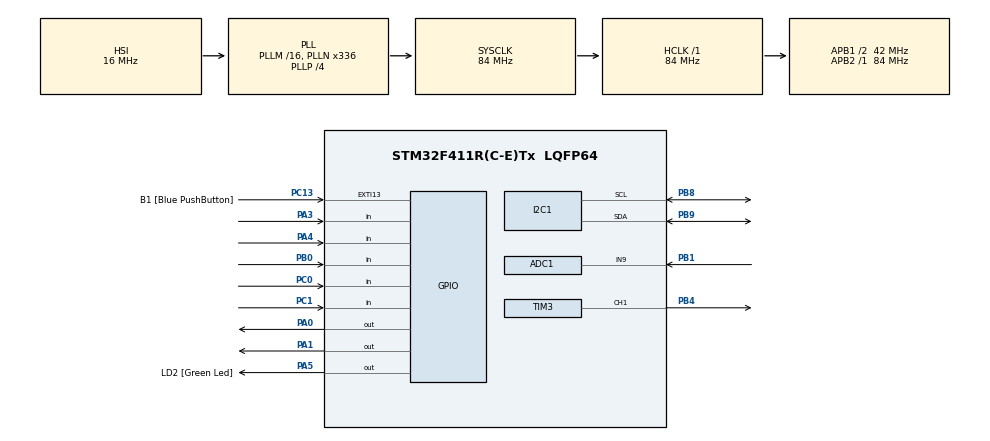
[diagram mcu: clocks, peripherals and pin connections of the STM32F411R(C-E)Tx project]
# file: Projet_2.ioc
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ADC1.Channel-0\#ChannelRegularConversion=ADC_CHANNEL_9
ADC1.ContinuousConvMode=ENABLE
ADC1.InjNumberOfConversion=0
ADC1.NbrOfConversion=1
ADC1.NbrOfConversionFlag=1
ADC1.Rank-0\#ChannelRegularConversion=1
ADC1.SamplingTime-0\#ChannelRegularConversion=ADC_SAMPLETIME_3CYCLES
ADC1.master=1
FREERTOS.Tasks01=defaultTask,0,128,StartDefaultTask,Default,NULL,Dynamic,NULL,NULL;pushButton,0,512,StartTask02,Default,NULL,Dynamic,NULL,NULL;servoTask,0,128,StartTask03,Default,NULL,Dynamic,NULL,NULL;tacheEcran,0,512,tacheEcranLCD,Default,NULL,Dynamic,NULL,NULL
Mcu.Family=STM32F4
Mcu.Name=STM32F411R(C-E)Tx
Mcu.Package=LQFP64
NVIC.PriorityGroup=NVIC_PRIORITYGROUP_4
PA0-WKUP.Signal=GPIO_Output
PA1.Signal=GPIO_Output
PA13.GPIO_Label=TMS
PA13.Mode=Serial_Wire
PA13.Signal=SYS_JTMS-SWDIO
PA14.GPIO_Label=TCK
PA14.Mode=Serial_Wire
PA14.Signal=SYS_JTCK-SWCLK
PA2.GPIO_Label=USART_TX
PA2.Signal=USART2_TX
PA3.Signal=GPIO_Input
PA4.Signal=GPIO_Input
PA5.GPIO_Label=LD2 [Green Led]
PA5.Signal=GPIO_Output
PB0.Signal=GPIO_Input
PB1.Signal=ADCx_IN9
PB3.GPIO_Label=SWO
PB3.Signal=SYS_JTDO-SWO
PB4.Signal=S_TIM3_CH1
PB8.Mode=I2C
PB8.Signal=I2C1_SCL
PB9.Mode=I2C
PB9.Signal=I2C1_SDA
PC0.Signal=GPIO_Input
PC1.Signal=GPIO_Input
PC13-ANTI_TAMP.GPIO_Label=B1 [Blue PushButton]
PC13-ANTI_TAMP.GPIO_ModeDefaultEXTI=GPIO_MODE_IT_FALLING
PC13-ANTI_TAMP.Signal=GPXTI13
PC14-OSC32_IN.Mode=LSE-External-Oscillator
PC14-OSC32_IN.Signal=RCC_OSC32_IN
PC15-OSC32_OUT.Mode=LSE-External-Oscillator
PC15-OSC32_OUT.Signal=RCC_OSC32_OUT
PH0\ -\ OSC_IN.Mode=HSE-External-Clock-Source
PH0\ -\ OSC_IN.Signal=RCC_OSC_IN
PH1\ -\ OSC_OUT.Mode=HSE-External-Clock-Source
PH1\ -\ OSC_OUT.Signal=RCC_OSC_OUT
ProjectManager.HeapSize=0x200
ProjectManager.StackSize=0x400
ProjectManager.TargetToolchain=STM32CubeIDE
RCC.48MHZClocksFreq_Value=84000000
RCC.AHBFreq_Value=84000000
RCC.APB1CLKDivider=RCC_HCLK_DIV2
RCC.APB1Freq_Value=42000000
RCC.APB1TimFreq_Value=84000000
RCC.APB2Freq_Value=84000000
RCC.APB2TimFreq_Value=84000000
RCC.CortexFreq_Value=84000000
RCC.FLatency-AdvancedSettings=FLASH_LATENCY_2
RCC.HCLKFreq_Value=84000000
RCC.HSE_VALUE=8000000
RCC.HSI_VALUE=16000000
RCC.PLLN=336
RCC.PLLP=RCC_PLLP_DIV4
RCC.SYSCLKFreq_VALUE=84000000
RCC.SYSCLKSource=RCC_SYSCLKSOURCE_PLLCLK
RCC.VCOOutputFreq_Value=336000000
SH.ADCx_IN9.0=ADC1_IN9,IN9
SH.S_TIM3_CH1.0=TIM3_CH1,PWM Generation1 CH1
TIM3.Channel-PWM\ Generation1\ CH1=TIM_CHANNEL_1
TIM3.Period=100-1
TIM3.Prescaler=20000-1
VP_FREERTOS_VS_CMSIS_V1.Mode=CMSIS_V1
board=NUCLEO-F411RE

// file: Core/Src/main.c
/* USER CODE BEGIN Header */
/**
  ******************************************************************************
  * @file           : main.c
  * @brief          : Main program body
  ******************************************************************************
  * @attention
  *
  * <h2><center>&copy; Copyright (c) 2021 STMicroelectronics.
  * All rights reserved.</center></h2>
  *
  * This software component is licensed by ST under BSD 3-Clause license,
  * the "License"; You may not use this file except in compliance with the
  * License. You may obtain a copy of the License at:
  *                        opensource.org/licenses/BSD-3-Clause
  *
  ******************************************************************************
  */
/* USER CODE END Header */
#include "main.h"
#include "cmsis_os.h"

/* USER CODE BEGIN Includes */
#include "i2c_lcd.h"
#include "moteurImpression.h"
#include "dwt_stm32_delay.h"

#include <stdio.h>
#include <stdlib.h>
#include <string.h>
#include <math.h>
/* USER CODE END Includes */

ADC_HandleTypeDef hadc1;

I2C_HandleTypeDef hi2c1;

TIM_HandleTypeDef htim3;

osThreadId defaultTaskHandle;
osThreadId pushButtonHandle;
osThreadId servoTaskHandle;
osThreadId tacheEcranHandle;
/* USER CODE BEGIN PV */
osSemaphoreId Sem_Bin_1Handle;

/*---- Valeur sortie ADC----*/
unsigned int uiAnalogData = 0;
int percent;

/*----ADRESSE ECRAN LCD----*/
uint8_t LCD_ADD = 0x00<<1;

/*----BOUTON DECREMENTE VALEUR----*/
int onePushDec = 0;

/*----BOUTON INCREMENTE VALEUR----*/
int onePushInc =0;

/*----VARIABLE COMMUNE BOUTON----*/
int pushMouvement = 0;

/*----TEST CONNEXION ECRAN LCD----*/
int nblcd = 0;

/*----CHOIX INTERFACE----*/
int pushInterface = 0;
int onePushInterface = 0;

/*----MOT ET LONGUEUR MOT A ENVOYER POUR AFFICHAGE----*/
char mot[4];
int lengthTab;

/*----VALIDATION----*/
int onePushDroit = 1;
int onePushGauche = 1;
int buttonPosition = 0;
int onePushValide = 0;
int buttonValide = 0;
/*----CLEAR PASSAGE INTERFACE----*/
int refresh = 0;

/*----NOM DU DESSIN----*/
int nomDessinNb = 0;

/*----FLAG IMPRESSION----*/
int flagImp = 0;
int taille = 0;
/*----A ENLVER A LA FIN ---*/
int reste;
int placeVide;
int posMin = 0, posMax = 0, i = 0;;
int tailleTableau = 0;

/*----Stockage nom du dessin----*/
char nomRecu;

int total = 0;
int colonne = 0;
int ligne = 0;
/* USER CODE END PV */

void SystemClock_Config(void);
static void MX_GPIO_Init(void);
static void MX_TIM3_Init(void);
static void MX_ADC1_Init(void);
static void MX_I2C1_Init(void);
void StartDefaultTask(void const * argument);
void StartTask02(void const * argument);
void StartTask03(void const * argument);
void tacheEcranLCD(void const * argument);

int main(void)
{

  /* MCU Configuration--------------------------------------------------------*/

  /* Reset of all peripherals, Initializes the Flash interface and the Systick. */
  HAL_Init();

  /* Configure the system clock */
  SystemClock_Config();

  /* Initialize all configured peripherals */
  MX_GPIO_Init();
  MX_TIM3_Init();
  MX_ADC1_Init();
  MX_I2C1_Init();

  /* USER CODE BEGIN RTOS_SEMAPHORES */
  osSemaphoreDef(Sem_Bin_1);
  Sem_Bin_1Handle = osSemaphoreCreate(osSemaphore(Sem_Bin_1), 1);

  //osSemaphoreDef(Sem_Impression_1);
  //Sem_Impression = osSemaphoreCreate(osSemaphore(Sem_Impression_1), 1);
  /* USER CODE END RTOS_SEMAPHORES */

  /* Create the thread(s) */
  /* definition and creation of defaultTask */
  osThreadDef(defaultTask, StartDefaultTask, osPriorityNormal, 0, 128);
  defaultTaskHandle = osThreadCreate(osThread(defaultTask), NULL);

  /* definition and creation of pushButton */
  osThreadDef(pushButton, StartTask02, osPriorityNormal, 0, 512);
  pushButtonHandle = osThreadCreate(osThread(pushButton), NULL);

  /* definition and creation of servoTask */
  osThreadDef(servoTask, StartTask03, osPriorityNormal, 0, 128);
  servoTaskHandle = osThreadCreate(osThread(servoTask), NULL);

  /* definition and creation of tacheEcran */
  osThreadDef(tacheEcran, tacheEcranLCD, osPriorityNormal, 0, 512);
  tacheEcranHandle = osThreadCreate(osThread(tacheEcran), NULL);

  /* Start scheduler */
  osKernelStart();

  /* We should never get here as control is now taken by the scheduler */
  /* Infinite loop */
  while (1)
  {

  }
}

void SystemClock_Config(void)
{
  RCC_OscInitTypeDef RCC_OscInitStruct = {0};
  RCC_ClkInitTypeDef RCC_ClkInitStruct = {0};

  /** Configure the main internal regulator output voltage
  */
  __HAL_RCC_PWR_CLK_ENABLE();
  __HAL_PWR_VOLTAGESCALING_CONFIG(PWR_REGULATOR_VOLTAGE_SCALE1);
  /** Initializes the RCC Oscillators according to the specified parameters
  * in the RCC_OscInitTypeDef structure.
  */
  RCC_OscInitStruct.OscillatorType = RCC_OSCILLATORTYPE_HSI;
  RCC_OscInitStruct.HSIState = RCC_HSI_ON;
  RCC_OscInitStruct.HSICalibrationValue = RCC_HSICALIBRATION_DEFAULT;
  RCC_OscInitStruct.PLL.PLLState = RCC_PLL_ON;
  RCC_OscInitStruct.PLL.PLLSource = RCC_PLLSOURCE_HSI;
  RCC_OscInitStruct.PLL.PLLM = 16;
  RCC_OscInitStruct.PLL.PLLN = 336;
  RCC_OscInitStruct.PLL.PLLP = RCC_PLLP_DIV4;
  RCC_OscInitStruct.PLL.PLLQ = 4;
  if (HAL_RCC_OscConfig(&RCC_OscInitStruct) != HAL_OK)
  {
    Error_Handler();
  }
  /** Initializes the CPU, AHB and APB buses clocks
  */
  RCC_ClkInitStruct.ClockType = RCC_CLOCKTYPE_HCLK|RCC_CLOCKTYPE_SYSCLK
                              |RCC_CLOCKTYPE_PCLK1|RCC_CLOCKTYPE_PCLK2;
  RCC_ClkInitStruct.SYSCLKSource = RCC_SYSCLKSOURCE_PLLCLK;
  RCC_ClkInitStruct.AHBCLKDivider = RCC_SYSCLK_DIV1;
  RCC_ClkInitStruct.APB1CLKDivider = RCC_HCLK_DIV2;
  RCC_ClkInitStruct.APB2CLKDivider = RCC_HCLK_DIV1;

  if (HAL_RCC_ClockConfig(&RCC_ClkInitStruct, FLASH_LATENCY_2) != HAL_OK)
  {
    Error_Handler();
  }
}

static void MX_ADC1_Init(void)
{

  ADC_ChannelConfTypeDef sConfig = {0};

  /** Configure the global features of the ADC (Clock, Resolution, Data Alignment and number of conversion)
  */
  hadc1.Instance = ADC1;
  hadc1.Init.ClockPrescaler = ADC_CLOCK_SYNC_PCLK_DIV4;
  hadc1.Init.Resolution = ADC_RESOLUTION_12B;
  hadc1.Init.ScanConvMode = DISABLE;
  hadc1.Init.ContinuousConvMode = ENABLE;
  hadc1.Init.DiscontinuousConvMode = DISABLE;
  hadc1.Init.ExternalTrigConvEdge = ADC_EXTERNALTRIGCONVEDGE_NONE;
  hadc1.Init.ExternalTrigConv = ADC_SOFTWARE_START;
  hadc1.Init.DataAlign = ADC_DATAALIGN_RIGHT;
  hadc1.Init.NbrOfConversion = 1;
  hadc1.Init.DMAContinuousRequests = DISABLE;
  hadc1.Init.EOCSelection = ADC_EOC_SINGLE_CONV;
  if (HAL_ADC_Init(&hadc1) != HAL_OK)
  {
    Error_Handler();
  }
  /** Configure for the selected ADC regular channel its corresponding rank in the sequencer and its sample time.
  */
  sConfig.Channel = ADC_CHANNEL_9;
  sConfig.Rank = 1;
  sConfig.SamplingTime = ADC_SAMPLETIME_3CYCLES;
  if (HAL_ADC_ConfigChannel(&hadc1, &sConfig) != HAL_OK)
  {
    Error_Handler();
  }

}

static void MX_I2C1_Init(void)
{

  hi2c1.Instance = I2C1;
  hi2c1.Init.ClockSpeed = 100000;
  hi2c1.Init.DutyCycle = I2C_DUTYCYCLE_2;
  hi2c1.Init.OwnAddress1 = 0;
  hi2c1.Init.AddressingMode = I2C_ADDRESSINGMODE_7BIT;
  hi2c1.Init.DualAddressMode = I2C_DUALADDRESS_DISABLE;
  hi2c1.Init.OwnAddress2 = 0;
  hi2c1.Init.GeneralCallMode = I2C_GENERALCALL_DISABLE;
  hi2c1.Init.NoStretchMode = I2C_NOSTRETCH_DISABLE;
  if (HAL_I2C_Init(&hi2c1) != HAL_OK)
  {
    Error_Handler();
  }

}

static void MX_TIM3_Init(void)
{

  TIM_MasterConfigTypeDef sMasterConfig = {0};
  TIM_OC_InitTypeDef sConfigOC = {0};

  htim3.Instance = TIM3;
  htim3.Init.Prescaler = 20000-1;
  htim3.Init.CounterMode = TIM_COUNTERMODE_UP;
  htim3.Init.Period = 100-1;
  htim3.Init.ClockDivision = TIM_CLOCKDIVISION_DIV1;
  htim3.Init.AutoReloadPreload = TIM_AUTORELOAD_PRELOAD_DISABLE;
  if (HAL_TIM_PWM_Init(&htim3) != HAL_OK)
  {
    Error_Handler();
  }
  sMasterConfig.MasterOutputTrigger = TIM_TRGO_RESET;
  sMasterConfig.MasterSlaveMode = TIM_MASTERSLAVEMODE_DISABLE;
  if (HAL_TIMEx_MasterConfigSynchronization(&htim3, &sMasterConfig) != HAL_OK)
  {
    Error_Handler();
  }
  sConfigOC.OCMode = TIM_OCMODE_PWM1;
  sConfigOC.Pulse = 0;
  sConfigOC.OCPolarity = TIM_OCPOLARITY_HIGH;
  sConfigOC.OCFastMode = TIM_OCFAST_DISABLE;
  if (HAL_TIM_PWM_ConfigChannel(&htim3, &sConfigOC, TIM_CHANNEL_1) != HAL_OK)
  {
    Error_Handler();
  }
  HAL_TIM_MspPostInit(&htim3);

}

static void MX_GPIO_Init(void)
{
  GPIO_InitTypeDef GPIO_InitStruct = {0};

  /* GPIO Ports Clock Enable */
  __HAL_RCC_GPIOC_CLK_ENABLE();
  __HAL_RCC_GPIOH_CLK_ENABLE();
  __HAL_RCC_GPIOA_CLK_ENABLE();
  __HAL_RCC_GPIOB_CLK_ENABLE();

  /*Configure GPIO pin Output Level */
  HAL_GPIO_WritePin(GPIOA, GPIO_PIN_0|GPIO_PIN_1|LD2_Pin, GPIO_PIN_RESET);

  /*Configure GPIO pin : B1_Pin */
  GPIO_InitStruct.Pin = B1_Pin;
  GPIO_InitStruct.Mode = GPIO_MODE_IT_FALLING;
  GPIO_InitStruct.Pull = GPIO_NOPULL;
  HAL_GPIO_Init(B1_GPIO_Port, &GPIO_InitStruct);

  /*Configure GPIO pins : PC0 PC1 */
  GPIO_InitStruct.Pin = GPIO_PIN_0|GPIO_PIN_1;
  GPIO_InitStruct.Mode = GPIO_MODE_INPUT;
  GPIO_InitStruct.Pull = GPIO_NOPULL;
  HAL_GPIO_Init(GPIOC, &GPIO_InitStruct);

  /*Configure GPIO pins : PA0 PA1 LD2_Pin */
  GPIO_InitStruct.Pin = GPIO_PIN_0|GPIO_PIN_1|LD2_Pin;
  GPIO_InitStruct.Mode = GPIO_MODE_OUTPUT_PP;
  GPIO_InitStruct.Pull = GPIO_NOPULL;
  GPIO_InitStruct.Speed = GPIO_SPEED_FREQ_LOW;
  HAL_GPIO_Init(GPIOA, &GPIO_InitStruct);

  /*Configure GPIO pin : USART_TX_Pin */
  GPIO_InitStruct.Pin = USART_TX_Pin;
  GPIO_InitStruct.Mode = GPIO_MODE_AF_PP;
  GPIO_InitStruct.Pull = GPIO_NOPULL;
  GPIO_InitStruct.Speed = GPIO_SPEED_FREQ_VERY_HIGH;
  GPIO_InitStruct.Alternate = GPIO_AF7_USART2;
  HAL_GPIO_Init(USART_TX_GPIO_Port, &GPIO_InitStruct);

  /*Configure GPIO pins : PA3 PA4 */
  GPIO_InitStruct.Pin = GPIO_PIN_3|GPIO_PIN_4;
  GPIO_InitStruct.Mode = GPIO_MODE_INPUT;
  GPIO_InitStruct.Pull = GPIO_NOPULL;
  HAL_GPIO_Init(GPIOA, &GPIO_InitStruct);

  /*Configure GPIO pin : PB0 */
  GPIO_InitStruct.Pin = GPIO_PIN_0;
  GPIO_InitStruct.Mode = GPIO_MODE_INPUT;
  GPIO_InitStruct.Pull = GPIO_NOPULL;
  HAL_GPIO_Init(GPIOB, &GPIO_InitStruct);

}

void StartDefaultTask(void const * argument)
{
  for(;;)
  {
  }
}

void StartTask02(void const * argument)
{
  /* USER CODE BEGIN StartTask02 */
  /* Infinite loop */
	for(;;)
	{
		HAL_TIM_PWM_Start(&htim3,TIM_CHANNEL_1);
		/*----Tache Synchronisation Mouvement et Push----*/
		if(pushMouvement == percent)
		{
			/*----On est pas encore arriver----*/
			htim3.Instance->CCR1 = 0;
		}
		else if(pushMouvement < percent)
		{
			HAL_GPIO_WritePin(GPIOA, GPIO_PIN_0, 1);
			HAL_GPIO_WritePin(GPIOA, GPIO_PIN_1, 0);
			htim3.Instance->CCR1 = 10;
		}
		else if(pushMouvement > percent)
		{
			HAL_GPIO_WritePin(GPIOA, GPIO_PIN_0, 0);
			HAL_GPIO_WritePin(GPIOA, GPIO_PIN_1, 1);
			htim3.Instance->CCR1 = 10;
		}
		osDelay(1);
	}
  /* USER CODE END StartTask02 */
}

void StartTask03(void const * argument)
{
  /* USER CODE BEGIN StartTask03 */
  /* Infinite loop */
	for(;;)
	{
		/*----Recuperation de la position du potentiometre----*/
		HAL_ADC_Start(&hadc1);
		HAL_ADC_PollForConversion(&hadc1,1000);
		uiAnalogData = HAL_ADC_GetValue(&hadc1);
		percent = (uiAnalogData *100)/4096;
		itoa(percent,mot,10);
		lengthTab = log10(percent) + 1;
		HAL_ADC_Stop(&hadc1);
		osDelay(1);
  }
  /* USER CODE END StartTask03 */
}

void tacheEcranLCD(void const * argument)
{
  /* USER CODE BEGIN tacheEcranLCD */

	/*----INIT DE L'ECRAN LCD----*/
	lcd_clear();
	/*----------FIN DE CONFIGURATION LCD----------*/
	/* Infinite loop */
	for(;;)
	{
		/*----VERIFIE CONNEXION LCD SUR I2C----*/
		if(HAL_I2C_IsDeviceReady(&hi2c1,LCD_ADD, 2,500)== HAL_OK)
		{
			nblcd = 1;
		}
		if(pushInterface == 0)
		{
			refresh = 0;
			lcd_Position();
		}
		else if(pushInterface == 1)
		{
			/*----INTERDIRE UTILISATION CERTAINES FONCTIONS----*/
			onePushDec = 1;
			onePushInc = 1;
			onePushInterface = 1;
			impression();
		}
		else if(pushInterface >1)
		{
			pushInterface = 0;
		}
	osDelay(1);
  }
  /* USER CODE END tacheEcranLCD */
}

void Error_Handler(void)
{
  __disable_irq();
  while (1)
  {
  }
}

/************************ (C) COPYRIGHT STMicroelectronics *****END OF FILE****/
